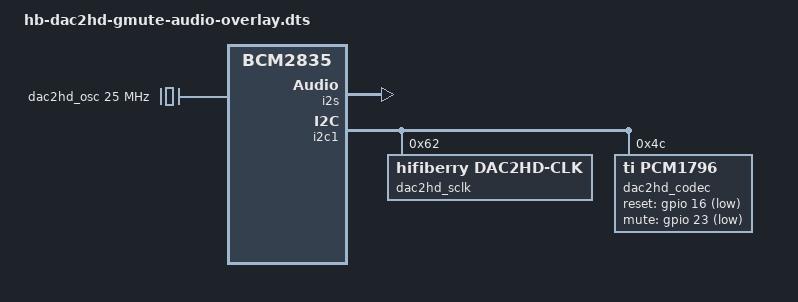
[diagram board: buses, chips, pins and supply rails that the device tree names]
// SPDX-License-Identifier: GPL-2.0+ OR MIT
/*
 * Author: Clive Messer <clive.messer@digitaldreamtime.co.uk>
 *         Copyright (c) Digital Dreamtime Ltd 2020-2021
 *
 * This file is dual-licensed: you can use it either under the terms
 * of the GPL or the MIT license, at your option. Note that this dual
 * licensing only applies to this file, and not this project as a
 * whole.
 *
 *  a) This library is free software; you can redistribute it and/or
 *     modify it under the terms of the GNU General Public License as
 *     published by the Free Software Foundation; either version 2 of the
 *     License, or (at your option) any later version.
 *
 *     This library is distributed in the hope that it will be useful,
 *     but WITHOUT ANY WARRANTY; without even the implied warranty of
 *     MERCHANTABILITY or FITNESS FOR A PARTICULAR PURPOSE.  See the
 *     GNU General Public License for more details.
 *
 * Or, alternatively,
 *
 *  b) Permission is hereby granted, free of charge, to any person
 *     obtaining a copy of this software and associated documentation
 *     files (the "Software"), to deal in the Software without
 *     restriction, including without limitation the rights to use,
 *     copy, modify, merge, publish, distribute, sublicense, and/or
 *     sell copies of the Software, and to permit persons to whom the
 *     Software is furnished to do so, subject to the following
 *     conditions:
 *
 *     The above copyright notice and this permission notice shall be
 *     included in all copies or substantial portions of the Software.
 *
 *     THE SOFTWARE IS PROVIDED "AS IS", WITHOUT WARRANTY OF ANY KIND,
 *     EXPRESS OR IMPLIED, INCLUDING BUT NOT LIMITED TO THE WARRANTIES
 *     OF MERCHANTABILITY, FITNESS FOR A PARTICULAR PURPOSE AND
 *     NONINFRINGEMENT. IN NO EVENT SHALL THE AUTHORS OR COPYRIGHT
 *     HOLDERS BE LIABLE FOR ANY CLAIM, DAMAGES OR OTHER LIABILITY,
 *     WHETHER IN AN ACTION OF CONTRACT, TORT OR OTHERWISE, ARISING
 *     FROM, OUT OF OR IN CONNECTION WITH THE SOFTWARE OR THE USE OR
 *     OTHER DEALINGS IN THE SOFTWARE.
 */

// Definitions for HiFiBerry DAC2 HD
/dts-v1/;
/plugin/;
// #include <dt-bindings/pinctrl/bcm2835.h>
// #include <dt-bindings/gpio/gpio.h>

/ {
	compatible = "brcm,bcm2835";

	fragment@0 {
		target-path = "/clocks";
		__overlay__ {
			/* 25MHz reference crystal for si5351a clock gen */
			dac2hd_osc: dac2hd-osc-ref-25M {
				#clock-cells = <0>;
				compatible = "fixed-clock";
				clock-frequency = <25000000>;
				clock-output-names = "25MHz-clock";
			};
		};
	};

	fragment@1 {
		target = <&i2s>;
		__overlay__ {
			status = "okay";
		};
	};

	fragment@2 {
		target = <&gpio>;
		__overlay__ {
			// RESET (GPIO:16 PIN:36) MUTE (GPIO:23 PIN:16)
			pcm1796_pins: pcm1796-pins {
				brcm,pins = <16 23>;
				// brcm,function = <BCM2835_FSEL_GPIO_OUT
				//		    BCM2835_FSEL_GPIO_OUT>;
				brcm,function = <1 1>; // <out out>
				// brcm,pull = <0 0>; // <none none>
			};
		};
	};

	fragment@3 {
		target = <&i2c1>;
		__overlay__ {
			#address-cells = <1>;
			#size-cells = <0>;
			status = "okay";

			/*
			 * Si5351a msop10 i2c clock generator
			 *  using custom clk_hifiberry_dac2hd driver
			 */
			dac2hd_sclk: dac2hd-si5351a-clock-generator@62 {
				compatible = "hifiberry,dac2hd-clk";
				#clock-cells = <0>;
				reg = <0x62>;
				clocks = <&dac2hd_osc>;
				clock-names= "xtal";
				status = "okay";
				common_pll_regs = [
					02 53 03 00 07 20 0F 00
					10 0D 11 1D 12 0D 13 8C
					14 8C 15 8C 16 8C 17 8C
					18 2A 1C 00 1D 0F 1F 00
					2A 00 2C 00 2F 00 30 00
					31 00 32 00 34 00 37 00
					38 00 39 00 3A 00 3B 01
					3E 00 3F 00 40 00 41 00
					5A 00 5B 00 95 00 96 00
					97 00 98 00 99 00 9A 00
					9B 00 A2 00 A3 00 A4 00
					B7 92 ];
				192k_pll_regs = [
					1A 0C 1B 35 1E F0 20 09
					21 50 2B 02 2D 10 2E 40
					33 01 35 22 36 80 3C 22
					3D 46 ];
				96k_pll_regs = [
					1A 0C 1B 35 1E F0 20 09
					21 50 2B 02 2D 10 2E 40
					33 01 35 47 36 00 3C 32
					3D 46 ];
				48k_pll_regs = [
					1A 0C 1B 35 1E F0 20 09
					21 50 2B 02 2D 10 2E 40
					33 01 35 90 36 00 3C 42
					3D 46 ];
				176k4_pll_regs = [
					1A 3D 1B 09 1E F3 20 13
					21 75 2B 04 2D 11 2E E0
					33 02 35 25 36 C0 3C 22
					3D 7A ];
				88k2_pll_regs = [
					1A 3D 1B 09 1E F3 20 13
					21 75 2B 04 2D 11 2E E0
					33 01 35 4D 36 80 3C 32
					3D 7A ];
				44k1_pll_regs = [
					1A 3D 1B 09 1E F3 20 13
					21 75 2B 04 2D 11 2E E0
					33 01 35 9D 36 00 3C 42
					3D 7A ];
			};

			/* TI PCM1796 codec */
			dac2hd_codec: dac2hd-pcm1796@4c {
				compatible = "ti,pcm1796";
				#sound-dai-cells = <0>;

				clocks = <&dac2hd_sclk 0>;
				clock-names = "sclk";

				pinctrl-names = "default";
				pinctrl-0 = <&pcm1796_pins>;

				gpio-controller;
				#gpio-cells = <2>;

				/*
				 * RESET: GPIO16 (PIN36)
				 */
				// reset-gpio = <&gpio 16 GPIO_ACTIVE_LOW>;
				reset-gpio = <&gpio 16 1>;

				/*
				 * MUTE: GPIO23 (PIN16)
				 */
				// mute-gpio = <&gpio 23 GPIO_ACTIVE_LOW>;
				mute-gpio = <&gpio 23 1>;

				reg = <0x4c>;
				status = "okay";
			};
		};
	};

	fragment@4 {
		target = <&sound>;
		dac2hd: __overlay__ {
			compatible = "hifiberry,dac2hd";
			i2s-controller = <&i2s>;
			status = "okay";
		};
	};

	__overrides__ {
		mute_gpio = <&dac2hd_codec>,"mute-gpio:4",
			    <&pcm1796_pins>,"brcm,pins:4";
		agm = <&dac2hd_codec>,"pcm1796,auto-gpio-mute?";
	};
};
